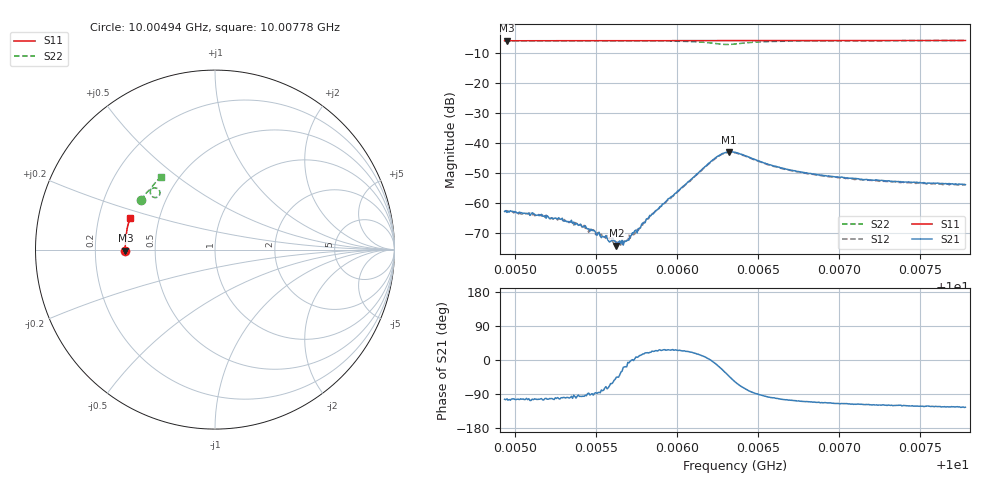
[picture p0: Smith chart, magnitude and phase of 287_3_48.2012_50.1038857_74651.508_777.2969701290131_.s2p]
#  HZ  S  RI  R  50.00
! Rohde & Schwarz Vector Network Analyzer
! Rohde-Schwarz,ZNB20-2Port,1311601062101988,3.16
! Created: UTC 3/20/2024, 11:48:55 AM
! freq[Hz]  re:S11  im:S11  re:S21  im:S21  re:S12  im:S12  re:S22  im:S22
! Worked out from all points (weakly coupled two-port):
!   401 points, 10.00494 GHz to 10.00778 GHz, reference 50 ohm
!   highest |S21| = -43.04 dB at 10.00632 GHz (marker M1); lowest = -74.3 dB at 10.00562 GHz (marker M2)
!   lowest |S11| = -6.0 dB at 10.00495 GHz (marker M3), VSWR 3.00, Z = 16.7 - j0.245 ohm
!   |S11| at or under -10 dB: nowhere
!   |S22| runs from -7.3 to -6.0 dB; largest |S21 - S12| = 0.00041
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1.0004935e10  -0.4996 -0.0065  -0.00017 -0.000697  -0.000149 -0.000684  -0.4114 0.2742
1.0004949e10  -0.4994 -0.00551  -0.000148 -0.000673  -0.000137 -0.000724  -0.4109 0.2751
1.0005155e10  -0.4999 0.00813  -0.00014 -0.000607  -0.00011 -0.000609  -0.4033 0.2871
1.0005227e10  -0.4999 0.0126  -0.000112 -0.000547  -0.000121 -0.000549  -0.4005 0.2913
1.0005276e10  -0.4999 0.0158  -0.000119 -0.000526  -5.7e-05 -0.000529  -0.3984 0.2944
1.0005411e10  -0.4999 0.0246  -4.39e-05 -0.000403  2.57e-05 -0.000398  -0.3927 0.3023
1.0005482e10  -0.4999 0.0292  -1.66e-05 -0.000344  3.87e-05 -0.000353  -0.3895 0.3068
1.0005582e10  -0.4996 0.0356  8.16e-05 -0.000206  0.000112 -0.000238  -0.3848 0.3129
1.0005625e10  -0.4994 0.0384  0.000135 -0.000137  0.000157 -0.000159  -0.3825 0.3156
1.0005646e10  -0.4993 0.0398  0.00018 -0.000145  0.000199 -9.72e-05  -0.3814 0.3168
1.0005681e10  -0.4992 0.0421  0.000216 -6.82e-05  0.000214 -7.53e-05  -0.3793 0.319
1.0005745e10  -0.4989 0.0462  0.000347 4.83e-05  0.000329 4.08e-05  -0.3755 0.3231
1.0005824e10  -0.4986 0.0513  0.000532 0.000179  0.000492 0.000224  -0.3702 0.3282
1.0005888e10  -0.4983 0.0554  0.000729 0.000365  0.000715 0.000357  -0.3653 0.3324
1.0006222e10  -0.4956 0.0768  0.00517 -0.000435  0.00508 -0.000182  -0.3114 0.3311
1.0006278e10  -0.495 0.0804  0.00596 -0.00283  0.00594 -0.00247  -0.3073 0.3095
1.0006321e10  -0.4948 0.0828  0.00511 -0.00485  0.00523 -0.00449  -0.318 0.2943
1.0006357e10  -0.4944 0.085  0.00372 -0.00584  0.00389 -0.00554  -0.3318 0.2899
1.0006584e10  -0.4927 0.0995  -0.000675 -0.00413  -0.000476 -0.00409  -0.3601 0.3266
1.0006833e10  -0.49 0.1154  -0.00108 -0.00282  -0.000943 -0.00284  -0.3496 0.3514
1.0007309e10  -0.483 0.1454  -0.00113 -0.00202  -0.001 -0.00203  -0.3258 0.3801
1.0007778e10  -0.4741 0.1742  -0.00114 -0.00165  -0.00102 -0.00167  -0.3021 0.4023
